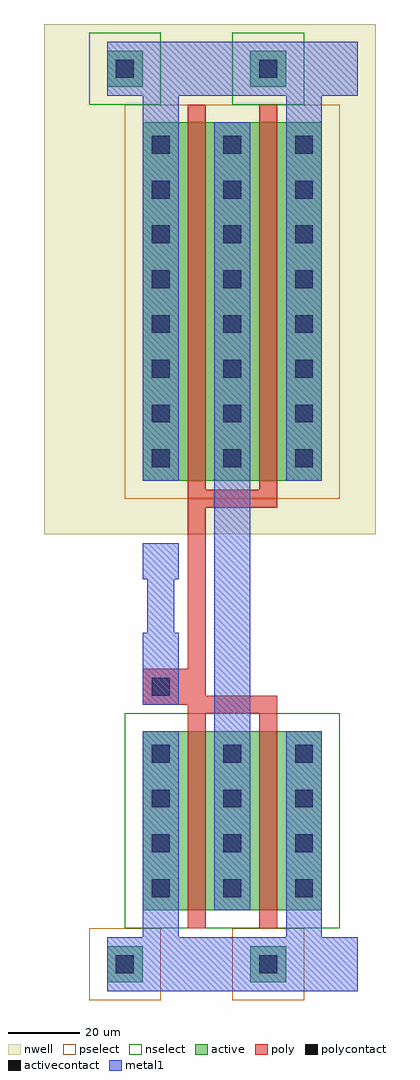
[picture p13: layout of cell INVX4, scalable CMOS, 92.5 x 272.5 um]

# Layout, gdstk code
import gdstk
lib = gdstk.Library(unit=1e-6, precision=1e-09)
def R(c, l, rs):  # rectangles x0, y0, x1, y1
    for r in rs: c.add(gdstk.rectangle(r[:2], r[2:], *l))
def A(c, l, x, y, w, h, nx, ny, dx, dy):  # array of equal rectangles
    R(c, l, [(x+i*dx, y+j*dy, x+i*dx+w, y+j*dy+h) for i in range(nx) for j in range(ny)])
nwell = (42, 0)
active = (43, 0)
pselect = (44, 0)
nselect = (45, 0)
poly = (46, 0)
polycontact = (47, 0)
activecontact = (48, 0)
metal1 = (49, 0)

invx4 = lib.new_cell('INVX4')
R(invx4, nwell, [(-22.5,120,70,262.5)])
R(invx4, active, [(-5,-5,5,5), (35,-5,45,5), (5,15,55,65), (5,135,55,235), (-5,245,5,255), (35,245,45,255)])
R(invx4, pselect, [(-10,-10,10,10), (30,-10,50,10), (0,130,60,240)])
R(invx4, nselect, [(0,10,60,70), (-10,240,10,260), (30,240,50,260)])
R(invx4, poly, [(17.5,10,22.5,70), (37.5,10,42.5,70), (17.5,70,42.5,72.5), (5,72.5,42.5,75), (5,75,22.5,82.5), (17.5,82.5,22.5,127.5), (17.5,127.5,42.5,132.5), (17.5,132.5,22.5,240), (37.5,132.5,42.5,240)])
R(invx4, polycontact, [(7.5,75,12.5,80)])
A(invx4, activecontact, 7.5, 18.75, 5, 5, 3, 4, 20, 12.5)
A(invx4, activecontact, 7.5, 138.75, 5, 5, 3, 8, 20, 12.5)
R(invx4, activecontact, [(-2.5,-2.5,2.5,2.5), (37.5,-2.5,42.5,2.5), (-2.5,247.5,2.5,252.5), (37.5,247.5,42.5,252.5)])
R(invx4, metal1, [(-5,-7.5,65,7.5), (5,7.5,15,65), (45,7.5,55,65), (25,15,35,235), (5,72.5,15,92.5), (6.25,83.75,13.75,116.25), (5,107.5,15,117.5), (5,135,15,242.5), (45,135,55,242.5), (-5,242.5,65,257.5)])

lib.write_gds('INVX4.gds')
